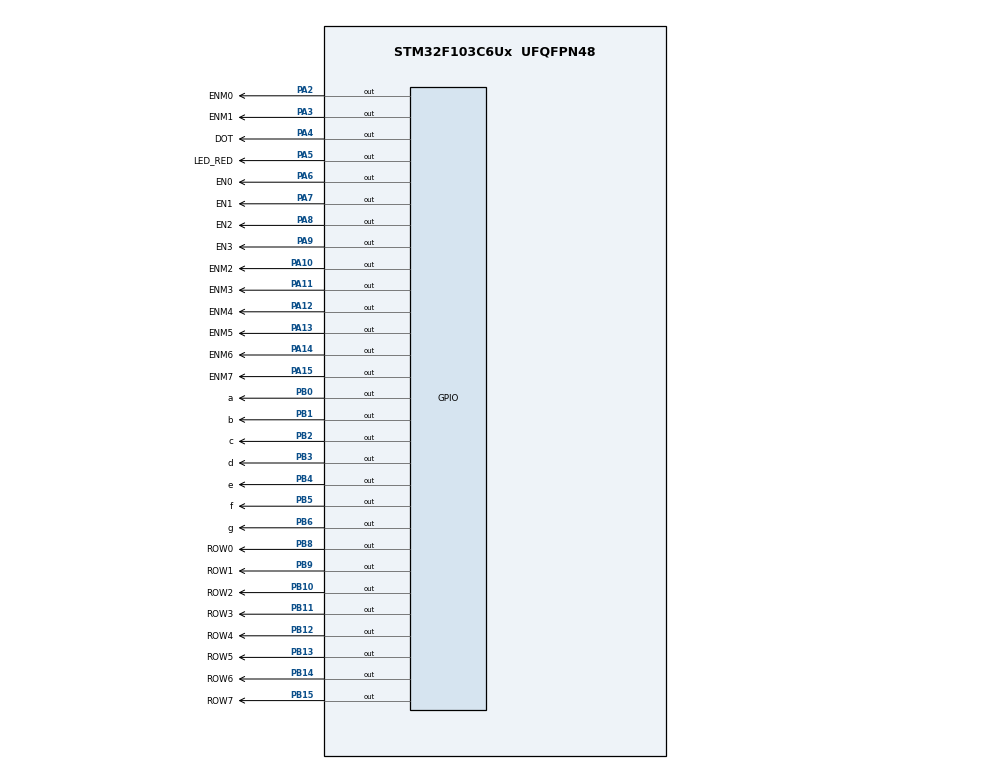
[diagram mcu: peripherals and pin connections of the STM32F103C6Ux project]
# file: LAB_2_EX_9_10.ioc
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Mcu.Family=STM32F1
Mcu.Name=STM32F103C6Ux
Mcu.Package=UFQFPN48
NVIC.PriorityGroup=NVIC_PRIORITYGROUP_4
NVIC.TIM2_IRQn=true\:0\:0\:false\:false\:true\:true\:true
PA10.GPIO_Label=ENM2
PA10.Signal=GPIO_Output
PA11.GPIO_Label=ENM3
PA11.Signal=GPIO_Output
PA12.GPIO_Label=ENM4
PA12.Signal=GPIO_Output
PA13.GPIO_Label=ENM5
PA13.Signal=GPIO_Output
PA14.GPIO_Label=ENM6
PA14.Signal=GPIO_Output
PA15.GPIO_Label=ENM7
PA15.Signal=GPIO_Output
PA2.GPIO_Label=ENM0
PA2.Signal=GPIO_Output
PA3.GPIO_Label=ENM1
PA3.Signal=GPIO_Output
PA4.GPIO_Label=DOT
PA4.Signal=GPIO_Output
PA5.GPIO_Label=LED_RED
PA5.Signal=GPIO_Output
PA6.GPIO_Label=EN0
PA6.Signal=GPIO_Output
PA7.GPIO_Label=EN1
PA7.Signal=GPIO_Output
PA8.GPIO_Label=EN2
PA8.Signal=GPIO_Output
PA9.GPIO_Label=EN3
PA9.Signal=GPIO_Output
PB0.GPIO_Label=a
PB0.Signal=GPIO_Output
PB1.GPIO_Label=b
PB1.Signal=GPIO_Output
PB10.GPIO_Label=ROW2
PB10.Signal=GPIO_Output
PB11.GPIO_Label=ROW3
PB11.Signal=GPIO_Output
PB12.GPIO_Label=ROW4
PB12.Signal=GPIO_Output
PB13.GPIO_Label=ROW5
PB13.Signal=GPIO_Output
PB14.GPIO_Label=ROW6
PB14.Signal=GPIO_Output
PB15.GPIO_Label=ROW7
PB15.Signal=GPIO_Output
PB2.GPIO_Label=c
PB2.Signal=GPIO_Output
PB3.GPIO_Label=d
PB3.Signal=GPIO_Output
PB4.GPIO_Label=e
PB4.Signal=GPIO_Output
PB5.GPIO_Label=f
PB5.Signal=GPIO_Output
PB6.GPIO_Label=g
PB6.Signal=GPIO_Output
PB8.GPIO_Label=ROW0
PB8.Signal=GPIO_Output
PB9.GPIO_Label=ROW1
PB9.Signal=GPIO_Output
ProjectManager.HeapSize=0x200
ProjectManager.StackSize=0x400
ProjectManager.TargetToolchain=STM32CubeIDE
RCC.APB1Freq_Value=8000000
RCC.APB2Freq_Value=8000000
TIM2.Period=9
TIM2.Prescaler=7999
VP_SYS_VS_ND.Mode=No_Debug
VP_TIM2_VS_ClockSourceINT.Mode=Internal
board=custom

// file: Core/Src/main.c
/* USER CODE BEGIN Header */
/**
  ******************************************************************************
  * @file           : main.c
  * @brief          : Main program body
  ******************************************************************************
  * @attention
  *
  * <h2><center>&copy; Copyright (c) 2025 STMicroelectronics.
  * All rights reserved.</center></h2>
  *
  * This software component is licensed by ST under BSD 3-Clause license,
  * the "License"; You may not use this file except in compliance with the
  * License. You may obtain a copy of the License at:
  *                        opensource.org/licenses/BSD-3-Clause
  *
  ******************************************************************************
  */
/* USER CODE END Header */
#include "main.h"

/* USER CODE BEGIN PTD */
#define TIMER_CYCLE 10
/* USER CODE END PTD */

TIM_HandleTypeDef htim2;

/* USER CODE BEGIN PV */
const int MAX_LED_MATRIX = 8;
int index_led_matrix = 0;

uint8_t matrix_buffer[8] = {0};

const uint8_t letterA[8] = {0xFC, 0xFE, 0x13, 0x11, 0x11, 0x13, 0xFE, 0xFC};

int shift_index = 0;

#define NUM_TIMERS 4

int timer_counters[NUM_TIMERS] = {0};
int timer_flags[NUM_TIMERS]    = {0};

uint16_t enm_pins[8] = {ENM0_Pin, ENM1_Pin, ENM2_Pin, ENM3_Pin, ENM4_Pin, ENM5_Pin, ENM6_Pin, ENM7_Pin};
uint16_t row_pins[8] = {ROW0_Pin, ROW1_Pin, ROW2_Pin, ROW3_Pin, ROW4_Pin, ROW5_Pin, ROW6_Pin, ROW7_Pin};
/* USER CODE END PV */

void SystemClock_Config(void);
static void MX_GPIO_Init(void);
static void MX_TIM2_Init(void);

/* USER CODE BEGIN 0 */
void updateLEDMatrix(int index) {
    for (int i = 0; i < 8; i++) {
        HAL_GPIO_WritePin(GPIOA, enm_pins[i], GPIO_PIN_SET);
    }

    for (int col = 0; col < 8; col++) {
        GPIO_PinState state = (matrix_buffer[index] & (1 << col)) ? GPIO_PIN_RESET : GPIO_PIN_SET;
        HAL_GPIO_WritePin(GPIOB, row_pins[col], state);
    }

    HAL_GPIO_WritePin(GPIOA, enm_pins[index], GPIO_PIN_RESET);
}

void shiftRightFromLeft(int step) {
    for (int i = 0; i < 8; i++) {
        int src_idx = i - step + 7;

        if (src_idx >= 0 && src_idx < 8) {
            matrix_buffer[i] = letterA[src_idx];
        } else {
            matrix_buffer[i] = 0x00;
        }
    }
}

void setTimer(int index, int duration) {
    if (index >= 0 && index < NUM_TIMERS) {
        timer_counters[index] = duration / TIMER_CYCLE;
        timer_flags[index]    = 0;
    }
}

int timer_flag(int index) {
    if (index >= 0 && index < NUM_TIMERS) {
        return timer_flags[index];
    }
    return 0;
}

void timer_run(void) {
    for (int i = 0; i < NUM_TIMERS; i++) {
        if (timer_counters[i] > 0) {
            timer_counters[i]--;
            if (timer_counters[i] == 0) {
                timer_flags[i] = 1;
            }
        }
    }
}
/* USER CODE END 0 */

int main(void)
{

  /* MCU Configuration--------------------------------------------------------*/

  /* Reset of all peripherals, Initializes the Flash interface and the Systick. */
  HAL_Init();

  /* Configure the system clock */
  SystemClock_Config();

  /* Initialize all configured peripherals */
  MX_GPIO_Init();
  MX_TIM2_Init();
  /* USER CODE BEGIN 2 */
  HAL_TIM_Base_Start_IT (& htim2 ) ;
  HAL_GPIO_WritePin(GPIOA, EN0_Pin | EN1_Pin | EN2_Pin | EN3_Pin | DOT_Pin, GPIO_PIN_SET);
  HAL_GPIO_WritePin(GPIOB, a_Pin | b_Pin | c_Pin | d_Pin | e_Pin | f_Pin | g_Pin, GPIO_PIN_RESET);
  setTimer(1, 10);
  setTimer(2, 300);
  setTimer(3, 500);
  GPIO_PinState led_state = GPIO_PIN_RESET;
  for (int i = 0; i < 8; i++) {
      matrix_buffer[i] = 0;
    }
  /* USER CODE END 2 */

  /* Infinite loop */
  /* USER CODE BEGIN WHILE */
  while (1)
    {
        if (timer_flag(1) == 1) {
            setTimer(1, 10);
            updateLEDMatrix(index_led_matrix);
            index_led_matrix = (index_led_matrix + 1) % MAX_LED_MATRIX;
        }

        if (timer_flag(2) == 1) {
            setTimer(2, 300);
            shiftRightFromLeft(shift_index);

            shift_index++;
            if (shift_index >= 16) {
                shift_index = 0;
            }
        }

        if (timer_flag(3) == 1) {
        	setTimer(3, 500);
        	led_state = (led_state == GPIO_PIN_RESET) ? GPIO_PIN_SET : GPIO_PIN_RESET;
        	HAL_GPIO_WritePin (GPIOA, LED_RED_Pin, led_state);
        }
      /* USER CODE END WHILE */

      /* USER CODE BEGIN 3 */
    }
}

void SystemClock_Config(void)
{
  RCC_OscInitTypeDef RCC_OscInitStruct = {0};
  RCC_ClkInitTypeDef RCC_ClkInitStruct = {0};

  /** Initializes the RCC Oscillators according to the specified parameters
  * in the RCC_OscInitTypeDef structure.
  */
  RCC_OscInitStruct.OscillatorType = RCC_OSCILLATORTYPE_HSI;
  RCC_OscInitStruct.HSIState = RCC_HSI_ON;
  RCC_OscInitStruct.HSICalibrationValue = RCC_HSICALIBRATION_DEFAULT;
  RCC_OscInitStruct.PLL.PLLState = RCC_PLL_NONE;
  if (HAL_RCC_OscConfig(&RCC_OscInitStruct) != HAL_OK)
  {
    Error_Handler();
  }
  /** Initializes the CPU, AHB and APB buses clocks
  */
  RCC_ClkInitStruct.ClockType = RCC_CLOCKTYPE_HCLK|RCC_CLOCKTYPE_SYSCLK
                              |RCC_CLOCKTYPE_PCLK1|RCC_CLOCKTYPE_PCLK2;
  RCC_ClkInitStruct.SYSCLKSource = RCC_SYSCLKSOURCE_HSI;
  RCC_ClkInitStruct.AHBCLKDivider = RCC_SYSCLK_DIV1;
  RCC_ClkInitStruct.APB1CLKDivider = RCC_HCLK_DIV1;
  RCC_ClkInitStruct.APB2CLKDivider = RCC_HCLK_DIV1;

  if (HAL_RCC_ClockConfig(&RCC_ClkInitStruct, FLASH_LATENCY_0) != HAL_OK)
  {
    Error_Handler();
  }
}

static void MX_TIM2_Init(void)
{

  TIM_ClockConfigTypeDef sClockSourceConfig = {0};
  TIM_MasterConfigTypeDef sMasterConfig = {0};

  htim2.Instance = TIM2;
  htim2.Init.Prescaler = 7999;
  htim2.Init.CounterMode = TIM_COUNTERMODE_UP;
  htim2.Init.Period = 9;
  htim2.Init.ClockDivision = TIM_CLOCKDIVISION_DIV1;
  htim2.Init.AutoReloadPreload = TIM_AUTORELOAD_PRELOAD_DISABLE;
  if (HAL_TIM_Base_Init(&htim2) != HAL_OK)
  {
    Error_Handler();
  }
  sClockSourceConfig.ClockSource = TIM_CLOCKSOURCE_INTERNAL;
  if (HAL_TIM_ConfigClockSource(&htim2, &sClockSourceConfig) != HAL_OK)
  {
    Error_Handler();
  }
  sMasterConfig.MasterOutputTrigger = TIM_TRGO_RESET;
  sMasterConfig.MasterSlaveMode = TIM_MASTERSLAVEMODE_DISABLE;
  if (HAL_TIMEx_MasterConfigSynchronization(&htim2, &sMasterConfig) != HAL_OK)
  {
    Error_Handler();
  }

}

static void MX_GPIO_Init(void)
{
  GPIO_InitTypeDef GPIO_InitStruct = {0};

  /* GPIO Ports Clock Enable */
  __HAL_RCC_GPIOA_CLK_ENABLE();
  __HAL_RCC_GPIOB_CLK_ENABLE();

  /*Configure GPIO pin Output Level */
  HAL_GPIO_WritePin(GPIOA, ENM0_Pin|ENM1_Pin|DOT_Pin|LED_RED_Pin
                          |EN0_Pin|EN1_Pin|EN2_Pin|EN3_Pin
                          |ENM2_Pin|ENM3_Pin|ENM4_Pin|ENM5_Pin
                          |ENM6_Pin|ENM7_Pin, GPIO_PIN_RESET);

  /*Configure GPIO pin Output Level */
  HAL_GPIO_WritePin(GPIOB, a_Pin|b_Pin|c_Pin|ROW2_Pin
                          |ROW3_Pin|ROW4_Pin|ROW5_Pin|ROW6_Pin
                          |ROW7_Pin|d_Pin|e_Pin|f_Pin
                          |g_Pin|ROW0_Pin|ROW1_Pin, GPIO_PIN_RESET);

  /*Configure GPIO pins : ENM0_Pin ENM1_Pin DOT_Pin LED_RED_Pin
                           EN0_Pin EN1_Pin EN2_Pin EN3_Pin
                           ENM2_Pin ENM3_Pin ENM4_Pin ENM5_Pin
                           ENM6_Pin ENM7_Pin */
  GPIO_InitStruct.Pin = ENM0_Pin|ENM1_Pin|DOT_Pin|LED_RED_Pin
                          |EN0_Pin|EN1_Pin|EN2_Pin|EN3_Pin
                          |ENM2_Pin|ENM3_Pin|ENM4_Pin|ENM5_Pin
                          |ENM6_Pin|ENM7_Pin;
  GPIO_InitStruct.Mode = GPIO_MODE_OUTPUT_PP;
  GPIO_InitStruct.Pull = GPIO_NOPULL;
  GPIO_InitStruct.Speed = GPIO_SPEED_FREQ_LOW;
  HAL_GPIO_Init(GPIOA, &GPIO_InitStruct);

  /*Configure GPIO pins : a_Pin b_Pin c_Pin ROW2_Pin
                           ROW3_Pin ROW4_Pin ROW5_Pin ROW6_Pin
                           ROW7_Pin d_Pin e_Pin f_Pin
                           g_Pin ROW0_Pin ROW1_Pin */
  GPIO_InitStruct.Pin = a_Pin|b_Pin|c_Pin|ROW2_Pin
                          |ROW3_Pin|ROW4_Pin|ROW5_Pin|ROW6_Pin
                          |ROW7_Pin|d_Pin|e_Pin|f_Pin
                          |g_Pin|ROW0_Pin|ROW1_Pin;
  GPIO_InitStruct.Mode = GPIO_MODE_OUTPUT_PP;
  GPIO_InitStruct.Pull = GPIO_NOPULL;
  GPIO_InitStruct.Speed = GPIO_SPEED_FREQ_LOW;
  HAL_GPIO_Init(GPIOB, &GPIO_InitStruct);

}

/* USER CODE BEGIN 4 */
void HAL_TIM_PeriodElapsedCallback(TIM_HandleTypeDef *htim) {
    if (htim->Instance == TIM2) {
        timer_run();
    }
}
/* USER CODE END 4 */

void Error_Handler(void)
{
  __disable_irq();
  while (1)
  {
  }
}

/************************ (C) COPYRIGHT STMicroelectronics *****END OF FILE****/
